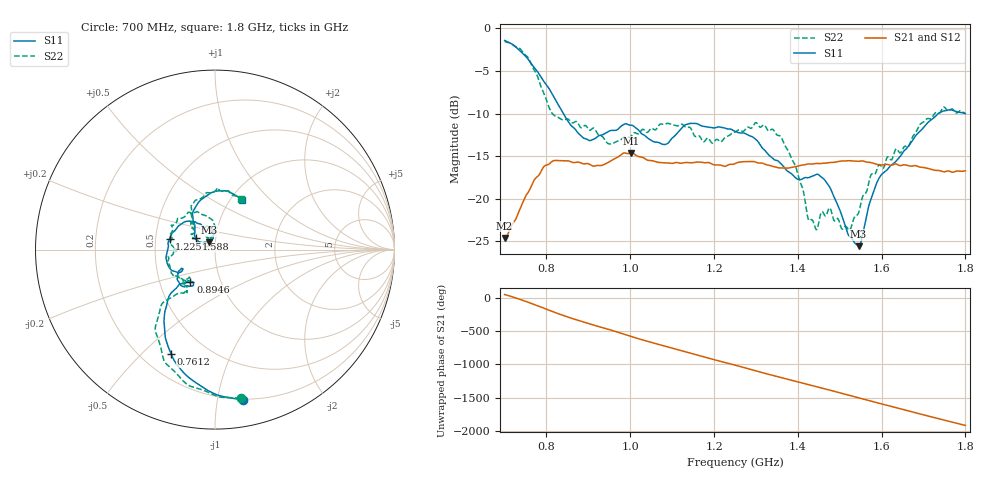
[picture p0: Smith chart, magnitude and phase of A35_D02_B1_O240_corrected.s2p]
! Created with skrf 1.9.0 (http://scikit-rf.org).
# Hz S RI R 50.0
!freq ReS11 ImS11 ReS21 ImS21 ReS12 ImS12 ReS22 ImS22
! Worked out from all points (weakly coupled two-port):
!   1601 points, 700 MHz to 1.8 GHz, reference 50 ohm
!   highest |S21| = -14.62 dB at 1.002 GHz (marker M1); lowest = -24.6 dB at 700 MHz (marker M2)
!   lowest |S11| = -25.6 dB at 1.545 GHz (marker M3), VSWR 1.11, Z = 46.7 + j3.88 ohm
!   |S11| at or under -10 dB: 840.1 MHz to 1.735 GHz (895.2 MHz wide, 69.5 % of centre); 1.799603 GHz to end of sweep
!   |S22| runs from -23.7 to -1.5 dB; largest |S21 - S12| = 0.0034
!   S11 on the Smith chart (normalised r, x): 700 MHz: 0.20, -1.19; 761.2 MHz: 0.32, -0.62; 894.6 MHz: 0.72, -0.27; 1.225 GHz: 0.59, +0.08; 1.588 GHz: 0.80, +0.10; 1.8 GHz: 1.13, +0.70
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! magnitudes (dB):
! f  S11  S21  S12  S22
! 700 MHz  -1.4  -24.6  -24.4  -1.5
! 761.2 MHz  -4.0  -18.8  -18.7  -3.9
! 814.8 MHz  -7.8  -15.6  -15.6  -10.1
! 883.6 MHz  -12.7  -15.8  -15.7  -11.7
! 894.6 MHz  -13.0  -15.9  -16.0  -11.4
! 949.6 MHz  -12.1  -15.7  -15.7  -13.6
! 1.002 GHz  -11.4  -14.6  -14.7  -12.6
! 1.067 GHz  -13.4  -15.7  -15.7  -11.5
! 1.139 GHz  -11.2  -15.8  -15.7  -11.6
! 1.225 GHz  -11.7  -16.2  -16.2  -12.9
! 1.25 GHz  -12.1  -15.9  -15.8  -12.2
! 1.3 GHz  -13.1  -15.7  -15.7  -11.1
! 1.359 GHz  -15.8  -16.4  -16.4  -12.7
! 1.394 GHz  -17.5  -16.2  -16.2  -16.1
! 1.434 GHz  -17.4  -15.9  -15.9  -22.5
! 1.473 GHz  -18.4  -15.8  -15.8  -21.2
! 1.522 GHz  -24.4  -15.5  -15.5  -23.7
! 1.545 GHz  -25.6  -15.6  -15.6  -21.7
! 1.588 GHz  -18.3  -15.9  -15.9  -16.7
! 1.617 GHz  -16.4  -16.0  -16.0  -15.1
! 1.737 GHz  -9.9  -16.7  -16.7  -10.0
! 1.8 GHz  -10.0  -16.7  -16.7  -10.0
